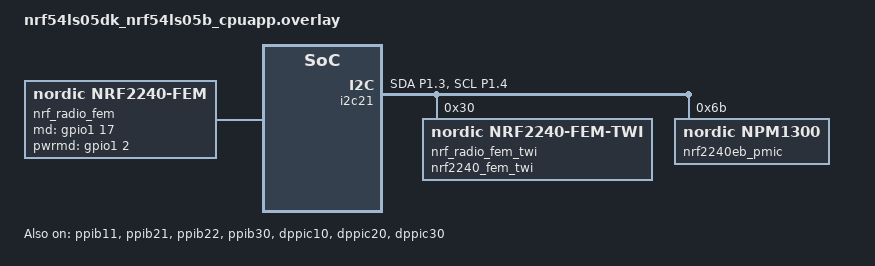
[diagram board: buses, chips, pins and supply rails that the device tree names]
/* Copyright (c) 2026 Nordic Semiconductor ASA
 *
 * SPDX-License-Identifier: LicenseRef-Nordic-5-Clause
 */

/* The nRF2240-EB shield is connected to the nRF54LS05 Development Kit Expansion Board Header.
 *
 * Important:
 * On the nRF54LS05 Development Kit pins C0 (P1.04) and C1 (P1.05) are connected to the
 * UART1 of the debugger chip to the nRF54LS05. The UART1 function (VCOM1) of
 * the debugger chip must be disabled to allow the pins to be used as FEM control
 * signals and FEM I2C interface. The "Board Configurator" tool
 * (https://docs.nordicsemi.com/r/bundle/nrf-connect-for-desktop/page/board-configurator-app)
 * being part of the "nRF Connect for Desktop" bundle can be used for this purpose.
 */

/ {
	nrf_radio_fem: nrf2240_fem {
		compatible = "nordic,nrf2240-fem";
		cs-gpios = <&gpio1 5 GPIO_ACTIVE_HIGH>;
		md-gpios = <&gpio1 17 GPIO_ACTIVE_HIGH>;
		pwrmd-gpios = <&gpio1 2 GPIO_ACTIVE_HIGH>;
		twi-if = <&nrf_radio_fem_twi>;
	};
};

&i2c21 {
	status = "okay";

	pinctrl-0 = <&i2c21_default>;
	pinctrl-1 = <&i2c21_sleep>;
	pinctrl-names = "default", "sleep";

	nrf_radio_fem_twi: nrf2240_fem_twi@30 {
		compatible = "nordic,nrf2240-fem-twi";
		status = "okay";
		reg = <0x30>;
	};

	/* The nPM1300 on the nRF2240-EB is used to supply power to the nRF2240 device. */
	nrf2240eb_pmic: pmic@6b {
		compatible = "nordic,npm1300";
		status = "okay";
		reg = <0x6b>;

		nrf2240eb_pmic_charger: charger {
			compatible = "nordic,npm1300-charger";
			status = "okay";
			/* When objects are placed close to the PCB antenna of the nRF2240-EB shield
			 * the supply voltage drops on the nRF2240 power supply pin VDDPALDO were
			 * observed. As a workaround the current limit on VBUS of the PMIC
			 * is increased.
			 */
			vbus-limit-microamp = <500000>;
			/* This PMIC does not have a battery, but the settings below are required
			 * by the driver
			 */
			term-microvolt = <4150000>;
			current-microamp = <150000>;
			dischg-limit-microamp = <1000000>;
			thermistor-ohms = <10000>;
			thermistor-beta = <3380>;
		};
	};
};

&pinctrl {
	i2c21_default: i2c21_default {
		group1 {
			psels = <NRF_PSEL(TWIM_SDA, 1, 3)>,
				<NRF_PSEL(TWIM_SCL, 1, 4)>;
			bias-pull-up;
		};
	};

	i2c21_sleep: i2c21_sleep {
		group1 {
			psels = <NRF_PSEL(TWIM_SDA, 1, 3)>,
				<NRF_PSEL(TWIM_SCL, 1, 4)>;
			low-power-enable;
		};
	};
};

&ppib11 {
	status = "okay";
};

&ppib21 {
	status = "okay";
};

&ppib22 {
	status = "okay";
};

&ppib30 {
	status = "okay";
};

&dppic10 {
	status = "okay";
};

&dppic20 {
	status = "okay";
};

&dppic30 {
	status = "okay";
};
